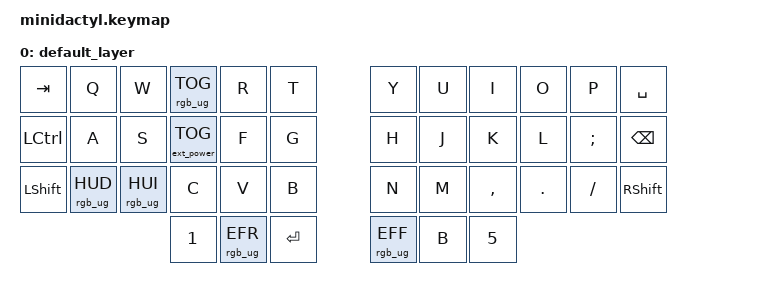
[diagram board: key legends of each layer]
#include <behaviors.dtsi>
#include <dt-bindings/zmk/rgb.h>
#include <dt-bindings/zmk/keys.h>
#include <dt-bindings/zmk/bt.h>
#include <dt-bindings/zmk/ext_power.h>

#define rgb_hn &rgb_ug RGB_HUI
#define rgb_hp &rgb_ug RGB_HUD
#define rgb_en &rgb_ug RGB_EFF
#define rgb_ep &rgb_ug RGB_EFR
#define rgb_tg &rgb_ug RGB_TOG
#define pwr_tg &ext_power EP_TOG

// for testing feature only
/ {
        keymap {
                compatible = "zmk,keymap";
                default_layer { bindings = <
&kp TAB   &kp Q  &kp W  rgb_tg &kp R &kp T         /*|*/        &kp Y   &kp U &kp I     &kp O   &kp P    &kp SPACE
&kp LCTRL &kp A  &kp S  pwr_tg &kp F &kp G         /*|*/        &kp H   &kp J &kp K     &kp L   &kp SEMI &kp BSPC
&kp LSHFT rgb_hp rgb_hn &kp C  &kp V &kp B         /*|*/        &kp N   &kp M &kp COMMA &kp DOT &kp FSLH &kp RSHFT
                        &kp N1 rgb_ep &kp RET      /*|*/        rgb_en  &kp B &kp N5 >; };
        };
};
